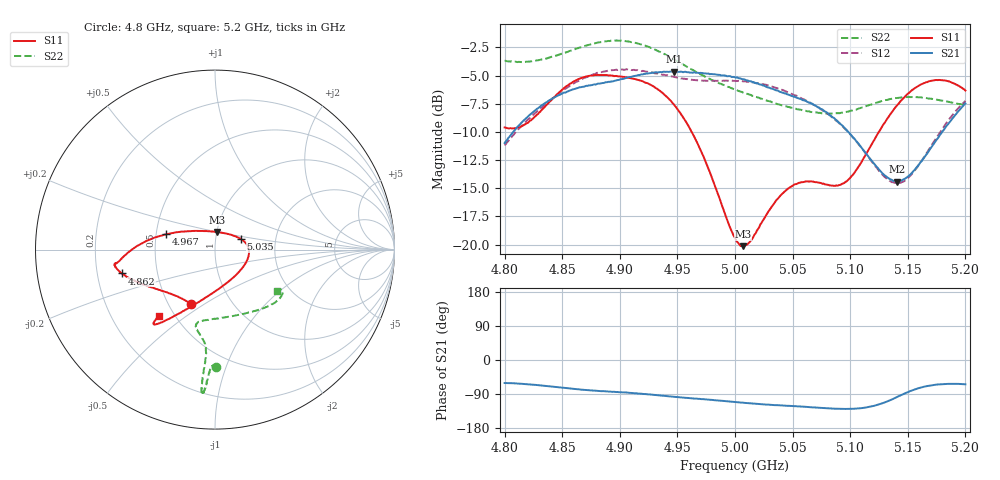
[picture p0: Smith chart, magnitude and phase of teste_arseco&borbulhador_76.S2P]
! Network Analyzer HP8722D
! Hewlett-Packard
! Data name: Linha & Wilkinson
! Saver's name: Rodrigo Anjos
! Comments: Teste da utilização de aquisição
! continua pelo VNA HP8722D
! Time and date: 15/4/2025 16:16
!  Frequency  S11  S21  S12  S22
# HZ  S  MA R 50
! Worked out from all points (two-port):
!   401 points, 4.8 GHz to 5.2 GHz, reference 50 ohm
!   highest |S21| = -4.64 dB at 4.947 GHz (marker M1); lowest = -14.4 dB at 5.141 GHz (marker M2)
!   |S21| within 3 dB of the highest: 4.832 GHz to 5.069 GHz (237.2 MHz wide, 4.79 % of centre); 5.198404 GHz to end of sweep
!   lowest |S11| = -20.1 dB at 5.007 GHz (marker M3), VSWR 1.22, Z = 50.2 + j9.9 ohm
!   |S11| at or under -10 dB: 4.962 GHz to 5.125 GHz (162.5 MHz wide, 3.22 % of centre)
!   |S22| runs from -8.4 to -1.9 dB; largest |S21 - S12| = 0.88
!   S11 on the Smith chart (normalised r, x): 4.8 GHz: 0.65, -0.44; 4.862 GHz: 0.31, -0.11; 4.967 GHz: 0.57, +0.11; 5.035 GHz: 1.32, +0.16; 5.2 GHz: 0.41, -0.40
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4.8e9  0.3309 -113.8  0.2821 -60.7  0.2753 -175.1  0.6545 -89.6
4.819e9  0.345 -133.6  0.3648 -63.6  0.3533 -173.4  0.6485 -91.1
4.862e9  0.5362 -165.7  0.4931 -76.6  0.5269 -176.4  0.7407 -93.5
4.867e9  0.5491 -167.6  0.5001 -78.4  0.5417 -177.3  0.7531 -93.7
4.902e9  0.5553 -172.3  0.5426 -85.4  0.5987 175.4  0.8029 -95.2
4.934e9  0.4846 -178.1  0.5818 -93.4  0.5714 171.9  0.7187 -95.6
4.947e9  0.4181 176.0  0.5859 -97.0  0.5547 172.2  0.6645 -95.2
4.967e9  0.2844 162.5  0.5792 -101.9  0.536 173.9  0.5807 -94.8
5e9  0.1072 107.1  0.5526 -110.9  0.5328 176.3  0.4874 -99.3
5.007e9  0.09832 83.3  0.5421 -112.8  0.5299 176.4  0.4727 -100.9
5.014e9  0.1044 61.0  0.5303 -114.6  0.5279 176.2  0.4607 -102.5
5.035e9  0.1549 22.8  0.4847 -119.0  0.4975 175.2  0.4229 -103.7
5.05e9  0.1824 6.8  0.4558 -121.6  0.4645 174.5  0.404 -100.4
5.067e9  0.1905 -11.4  0.4214 -124.7  0.4212 173.9  0.3872 -91.9
5.087e9  0.1822 -43.7  0.3595 -128.5  0.3576 173.7  0.3828 -77.0
5.097e9  0.191 -64.8  0.3215 -129.1  0.3211 174.4  0.3882 -68.5
5.134e9  0.3735 -116.2  0.1958 -106.9  0.192 -159.7  0.4417 -43.4
5.141e9  0.4165 -120.1  0.1904 -97.0  0.1868 -148.9  0.4473 -40.2
5.153e9  0.4814 -125.0  0.2066 -81.0  0.204 -130.1  0.4515 -35.9
5.17e9  0.5328 -128.5  0.268 -67.0  0.2722 -113.1  0.4442 -32.0
5.184e9  0.5322 -129.9  0.3382 -63.2  0.3488 -107.2  0.4314 -31.1
5.2e9  0.483 -130.4  0.4229 -64.1  0.4346 -106.1  0.4151 -33.3
